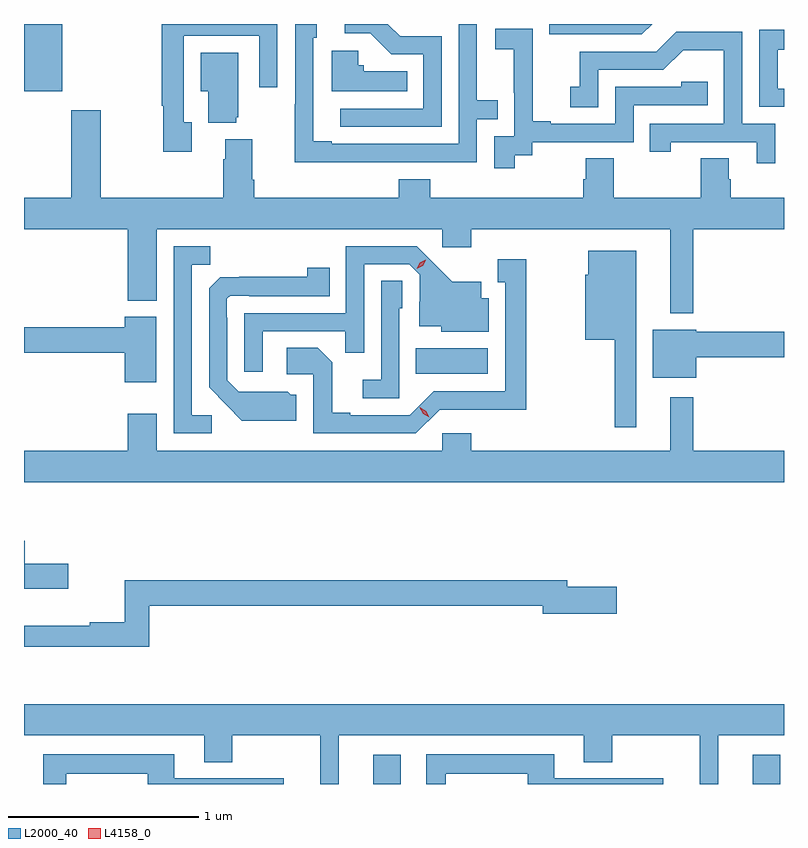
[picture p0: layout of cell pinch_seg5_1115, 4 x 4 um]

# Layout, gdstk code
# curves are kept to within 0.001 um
import gdstk
lib = gdstk.Library(unit=1e-6, precision=1e-09)
def R(c, l, rs):  # rectangles x0, y0, x1, y1
    for r in rs: c.add(gdstk.rectangle(r[:2], r[2:], *l))
def P(c, l, *ps):  # polygons
    for p in ps: c.add(gdstk.Polygon(p, *l))
L2000_40 = (2000, 40)
L4158_0 = (4158, 0)

pinch_seg5_1115 = lib.new_cell('pinch_seg5_1115')
R(pinch_seg5_1115, L2000_40, [(774.062,844.515,774.208,844.669), (776.06,844.515,776.206,844.669), (774.286,846.674,774.667,846.808), (772.225,848.162,772.426,848.515)])
P(pinch_seg5_1115, L2000_40, [(775.531,848.515),(774.99,848.515),(774.99,848.46),(775.476,848.46)],
  [(774.113,847.788),(774.609,847.788),(774.609,848.013),(774.719,848.013),(774.719,848.114),(774.609,848.114),(774.609,848.515),(774.513,848.515),(774.513,847.884),(773.845,847.884),(773.845,847.897),(773.748,847.897),(773.748,848.442),(773.767,848.442),(773.767,848.515),(773.652,848.515),(773.652,848.093),(773.65,848.093),(773.65,847.787),(774.113,847.787)],
  [(773.107,847.998),(773.067,847.998),(773.067,848.454),(773.463,848.454),(773.463,848.181),(773.559,848.181),(773.559,848.515),(772.951,848.515),(772.951,848.086),(772.959,848.086),(772.959,847.842),(773.107,847.842)],
  [(774.423,848.451),(774.204,848.451),(774.14,848.515),(773.913,848.515),(773.913,848.466),(774.047,848.466),(774.158,848.355),(774.327,848.355),(774.327,848.07),(773.889,848.07),(773.889,847.974),(774.423,847.974)],
  [(774.808,847.825),(774.9,847.825),(774.9,847.893),(775.434,847.893),(775.434,848.088),(775.823,848.088),(775.823,848.211),(775.683,848.211),(775.683,848.184),(775.338,848.184),(775.338,847.989),(774.997,847.989),(774.997,848.002),(774.902,848.002),(774.902,848.285),(774.903,848.285),(774.903,848.491),(774.705,848.491),(774.705,848.381),(774.803,848.381),(774.803,848.153),(774.804,848.153),(774.804,847.923),(774.699,847.923),(774.699,847.755),(774.808,847.755)],
  [(776.225,848.175),(776.191,848.175),(776.191,848.379),(776.225,848.379),(776.225,848.485),(776.094,848.485),(776.094,848.079),(776.225,848.079)],
  [(776.178,847.989),(776.004,847.989),(776.004,848.475),(775.658,848.475),(775.553,848.37),(775.15,848.37),(775.15,848.185),(775.101,848.185),(775.101,848.076),(775.248,848.076),(775.248,848.274),(775.59,848.274),(775.694,848.378),(775.908,848.378),(775.908,847.989),(775.519,847.989),(775.519,847.842),(775.63,847.842),(775.63,847.893),(776.081,847.893),(776.081,847.782),(776.178,847.782)],
  [(774.242,848.266),(774.012,848.266),(774.012,848.298),(773.985,848.298),(773.985,848.374),(773.846,848.374),(773.846,848.162),(774.242,848.162)],
  [(773.342,848.025),(773.353,848.025),(773.353,848.365),(773.156,848.365),(773.156,848.162),(773.195,848.162),(773.195,847.994),(773.342,847.994)],
  [(775.747,847.436),(776.225,847.436),(776.225,847.6),(775.946,847.6),(775.946,847.698),(775.933,847.698),(775.933,847.808),(775.786,847.808),(775.786,847.6),(775.329,847.6),(775.329,847.808),(775.181,847.808),(775.181,847.698),(775.169,847.698),(775.169,847.6),(774.362,847.6),(774.362,847.699),(774.197,847.699),(774.197,847.6),(773.438,847.6),(773.438,847.696),(773.425,847.696),(773.425,847.909),(773.285,847.909),(773.285,847.802),(773.273,847.802),(773.273,847.6),(772.629,847.6),(772.629,848.062),(772.474,848.062),(772.474,847.6),(772.225,847.6),(772.225,847.436),(772.772,847.436),(772.772,847.058),(772.924,847.058),(772.924,847.436),(774.426,847.436),(774.426,847.341),(774.578,847.341),(774.578,847.436),(775.625,847.436),(775.625,846.992),(775.747,846.992)],
  [(773.481,846.897),(773.917,846.897),(773.917,846.784),(774.015,846.784),(774.015,847.251),(774.252,847.251),(774.309,847.194),(774.309,847.052),(774.305,847.052),(774.305,846.923),(774.42,846.923),(774.42,846.896),(774.67,846.896),(774.67,847.072),(774.631,847.072),(774.631,847.159),(774.479,847.159),(774.292,847.344),(773.919,847.344),(773.919,846.993),(773.385,846.993),(773.385,846.684),(773.481,846.684)],
  [(773.212,846.456),(773.109,846.456),(773.109,847.249),(773.205,847.249),(773.205,847.344),(773.013,847.344),(773.013,846.36),(773.212,846.36)],
  [(775.447,847.321),(775.196,847.321),(775.196,847.194),(775.178,847.194),(775.178,846.854),(775.333,846.854),(775.333,846.393),(775.447,846.393)],
  [(774.414,846.486),(774.869,846.485),(774.869,847.276),(774.719,847.276),(774.719,847.155),(774.758,847.155),(774.758,846.582),(774.381,846.582),(774.255,846.456),(773.941,846.456),(773.941,846.469),(773.847,846.469),(773.847,846.736),(773.771,846.812),(773.607,846.812),(773.607,846.672),(773.748,846.672),(773.748,846.36),(774.288,846.36)],
  [(773.659,846.564),(773.628,846.564),(773.612,846.58),(773.355,846.579),(773.295,846.639),(773.295,846.968),(773.292,846.968),(773.292,847.068),(773.31,847.086),(773.41,847.086),(773.41,847.083),(773.834,847.083),(773.834,847.231),(773.716,847.231),(773.716,847.184),(773.258,847.183),(773.199,847.124),(773.199,846.602),(773.371,846.428),(773.659,846.428)],
  [(774.201,847.02),(774.216,847.02),(774.216,847.163),(774.105,847.163),(774.105,846.643),(774.009,846.643),(774.009,846.546),(774.201,846.546)],
  [(772.921,846.973),(772.754,846.973),(772.754,846.92),(772.225,846.92),(772.225,846.784),(772.754,846.784),(772.754,846.63),(772.921,846.63)],
  [(775.762,846.76),(776.225,846.76),(776.225,846.896),(775.762,846.896),(775.762,846.907),(775.535,846.907),(775.535,846.653),(775.762,846.653)],
  [(776.225,846.268),(775.747,846.268),(775.747,846.55),(775.625,846.55),(775.625,846.268),(774.578,846.268),(774.578,846.361),(774.426,846.361),(774.426,846.268),(772.924,846.268),(772.924,846.463),(772.772,846.463),(772.772,846.268),(772.225,846.268),(772.225,846.104),(776.225,846.104)],
  [(772.459,845.673),(772.229,845.673),(772.229,845.794),(772.225,845.794),(772.225,845.543),(772.459,845.543)],
  [(772.883,845.452),(774.956,845.452),(774.956,845.41),(775.345,845.41),(775.345,845.552),(775.084,845.552),(775.084,845.588),(772.755,845.588),(772.755,845.366),(772.57,845.366),(772.57,845.348),(772.225,845.348),(772.225,845.238),(772.883,845.238)],
  [(773.882,844.772),(775.172,844.772),(775.172,844.63),(775.32,844.63),(775.32,844.772),(775.781,844.772),(775.781,844.515),(775.88,844.515),(775.88,844.772),(776.225,844.772),(776.225,844.936),(772.225,844.936),(772.225,844.772),(773.174,844.772),(773.174,844.63),(773.322,844.63),(773.322,844.772),(773.783,844.772),(773.783,844.515),(773.882,844.515)],
  [(774.445,844.568),(774.875,844.568),(774.875,844.515),(775.589,844.515),(775.589,844.545),(775.015,844.545),(775.015,844.672),(774.341,844.672),(774.341,844.515),(774.445,844.515)],
  [(772.447,844.568),(772.877,844.568),(772.877,844.515),(773.591,844.515),(773.591,844.545),(773.017,844.545),(773.017,844.672),(772.326,844.672),(772.326,844.515),(772.447,844.515)])
P(pinch_seg5_1115, L4158_0, [(774.358,846.445),(774.326,846.464),(774.309,846.496),(774.309,846.497),(774.309,846.497),(774.341,846.477),(774.358,846.445),(774.358,846.445)],
  [(774.292,847.228),(774.292,847.228),(774.309,847.258),(774.34,847.273),(774.34,847.273),(774.34,847.272),(774.323,847.243),(774.292,847.228)])

lib.write_gds('pinch_seg5_1115.gds')
